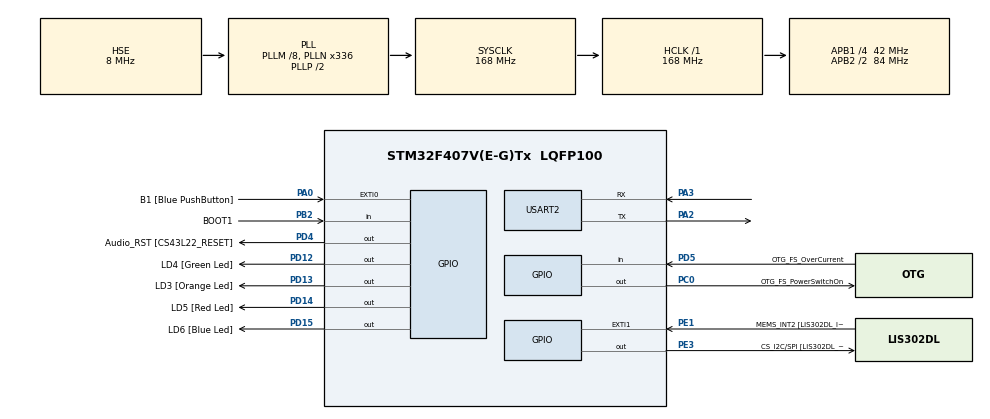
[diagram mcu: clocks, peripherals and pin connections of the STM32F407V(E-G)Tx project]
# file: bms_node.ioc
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Dma.Request0=USART2_RX
Dma.USART2_RX.0.Direction=DMA_PERIPH_TO_MEMORY
Dma.USART2_RX.0.FIFOMode=DMA_FIFOMODE_DISABLE
Dma.USART2_RX.0.Instance=DMA1_Stream5
Dma.USART2_RX.0.MemDataAlignment=DMA_MDATAALIGN_BYTE
Dma.USART2_RX.0.MemInc=DMA_MINC_ENABLE
Dma.USART2_RX.0.Mode=DMA_CIRCULAR
Dma.USART2_RX.0.PeriphDataAlignment=DMA_PDATAALIGN_BYTE
Dma.USART2_RX.0.PeriphInc=DMA_PINC_DISABLE
Dma.USART2_RX.0.Priority=DMA_PRIORITY_LOW
FREERTOS.Tasks01=defaultTask,24,128,StartDefaultTask,Default,NULL,Dynamic,NULL,NULL;ParserTask,32,1024,StartParserTask,Default,NULL,Dynamic,NULL,NULL
FREERTOS.configTOTAL_HEAP_SIZE=32768
FREERTOS.configUSE_NEWLIB_REENTRANT=1
Mcu.Family=STM32F4
Mcu.Name=STM32F407V(E-G)Tx
Mcu.Package=LQFP100
NVIC.DMA1_Stream5_IRQn=true\:5\:0\:true\:false\:true\:true\:false\:true\:true
NVIC.PriorityGroup=NVIC_PRIORITYGROUP_4
NVIC.TIM6_DAC_IRQn=true\:0\:0\:false\:false\:true\:false\:false\:true\:true
NVIC.TimeBase=TIM6_DAC_IRQn
NVIC.TimeBaseIP=TIM6
NVIC.USART2_IRQn=true\:5\:0\:true\:false\:true\:true\:true\:true\:true
PA0-WKUP.GPIO_Label=B1 [Blue PushButton]
PA0-WKUP.Signal=GPXTI0
PA10.GPIO_Label=OTG_FS_ID
PA10.GPIO_Mode=GPIO_MODE_AF_PP
PA10.GPIO_PuPd=GPIO_NOPULL
PA10.GPIO_Speed=GPIO_SPEED_FREQ_LOW
PA10.Signal=USB_OTG_FS_ID
PA11.GPIO_Label=OTG_FS_DM
PA11.GPIO_Mode=GPIO_MODE_AF_PP
PA11.GPIO_PuPd=GPIO_NOPULL
PA11.GPIO_Speed=GPIO_SPEED_FREQ_LOW
PA11.Signal=USB_OTG_FS_DM
PA12.GPIO_Label=OTG_FS_DP
PA12.GPIO_Mode=GPIO_MODE_AF_PP
PA12.GPIO_PuPd=GPIO_NOPULL
PA12.GPIO_Speed=GPIO_SPEED_FREQ_LOW
PA12.Signal=USB_OTG_FS_DP
PA13.GPIO_Label=SWDIO
PA13.Mode=Serial_Wire
PA13.Signal=SYS_JTMS-SWDIO
PA14.GPIO_Label=SWCLK
PA14.Mode=Serial_Wire
PA14.Signal=SYS_JTCK-SWCLK
PA2.Mode=Asynchronous
PA2.Signal=USART2_TX
PA3.Mode=Asynchronous
PA3.Signal=USART2_RX
PA4.GPIO_Label=I2S3_WS [CS43L22_LRCK]
PA4.GPIO_Mode=GPIO_MODE_AF_PP
PA4.GPIO_PuPd=GPIO_NOPULL
PA4.GPIO_Speed=GPIO_SPEED_FREQ_LOW
PA4.Signal=I2S3_WS
PA5.GPIO_Label=SPI1_SCK [LIS302DL_SCL/SPC]
PA5.GPIO_Mode=GPIO_MODE_AF_PP
PA5.GPIO_PuPd=GPIO_NOPULL
PA5.GPIO_Speed=GPIO_SPEED_FREQ_LOW
PA5.Signal=SPI1_SCK
PA6.GPIO_Label=SPI1_MISO [LIS302DL_SDO]
PA6.GPIO_Mode=GPIO_MODE_AF_PP
PA6.GPIO_PuPd=GPIO_NOPULL
PA6.GPIO_Speed=GPIO_SPEED_FREQ_LOW
PA6.Signal=SPI1_MISO
PA7.GPIO_Label=SPI1_MOSI [LIS302DL_SDA/SDI/SDO]
PA7.GPIO_Mode=GPIO_MODE_AF_PP
PA7.GPIO_PuPd=GPIO_NOPULL
PA7.GPIO_Speed=GPIO_SPEED_FREQ_LOW
PA7.Signal=SPI1_MOSI
PA9.GPIO_Label=VBUS_FS
PA9.GPIO_Mode=GPIO_MODE_INPUT
PA9.GPIO_PuPd=GPIO_NOPULL
PA9.Signal=USB_OTG_FS_VBUS
PB10.GPIO_Label=CLK_IN [MP45DT02_CLK]
PB10.GPIO_Mode=GPIO_MODE_AF_PP
PB10.GPIO_PuPd=GPIO_NOPULL
PB10.GPIO_Speed=GPIO_SPEED_FREQ_LOW
PB10.Signal=I2S2_CK
PB2.GPIO_Label=BOOT1
PB2.GPIO_Mode=GPIO_MODE_INPUT
PB2.GPIO_PuPd=GPIO_NOPULL
PB2.Signal=GPIO_Input
PB3.GPIO_Label=SWO
PB3.Signal=SYS_JTDO-SWO
PB6.GPIO_Label=Audio_SCL [CS43L22_SCL]
PB6.GPIO_Mode=GPIO_MODE_AF_OD
PB6.GPIO_PuPd=GPIO_NOPULL
PB6.GPIO_Speed=GPIO_SPEED_FREQ_LOW
PB6.Signal=I2C1_SCL
PB9.GPIO_Label=Audio_SDA [CS43L22_SDA]
PB9.GPIO_Mode=GPIO_MODE_AF_OD
PB9.GPIO_PuPd=GPIO_NOPULL
PB9.GPIO_Speed=GPIO_SPEED_FREQ_LOW
PB9.Signal=I2C1_SDA
PC0.GPIO_Label=OTG_FS_PowerSwitchOn
PC0.GPIO_PuPd=GPIO_NOPULL
PC0.GPIO_Speed=GPIO_SPEED_FREQ_LOW
PC0.PinState=GPIO_PIN_SET
PC0.Signal=GPIO_Output
PC10.GPIO_Label=I2S3_SCK [CS43L22_SCLK]
PC10.GPIO_Mode=GPIO_MODE_AF_PP
PC10.GPIO_PuPd=GPIO_NOPULL
PC10.GPIO_Speed=GPIO_SPEED_FREQ_LOW
PC10.Signal=I2S3_CK
PC12.GPIO_Label=I2S3_SD [CS43L22_SDIN]
PC12.GPIO_Mode=GPIO_MODE_AF_PP
PC12.GPIO_PuPd=GPIO_NOPULL
PC12.GPIO_Speed=GPIO_SPEED_FREQ_LOW
PC12.Signal=I2S3_SD
PC14-OSC32_IN.GPIO_Label=PC14-OSC32_IN
PC14-OSC32_IN.Signal=RCC_OSC32_IN
PC15-OSC32_OUT.GPIO_Label=PC15-OSC32_OUT
PC15-OSC32_OUT.Signal=RCC_OSC32_OUT
PC3.GPIO_Label=PDM_OUT [MP45DT02_DOUT]
PC3.GPIO_Mode=GPIO_MODE_AF_PP
PC3.GPIO_PuPd=GPIO_NOPULL
PC3.GPIO_Speed=GPIO_SPEED_FREQ_LOW
PC3.Signal=I2S2_SD
PC7.GPIO_Label=I2S3_MCK [CS43L22_MCLK]
PC7.GPIO_Mode=GPIO_MODE_AF_PP
PC7.GPIO_PuPd=GPIO_NOPULL
PC7.GPIO_Speed=GPIO_SPEED_FREQ_LOW
PC7.Signal=I2S3_MCK
PD12.GPIO_Label=LD4 [Green Led]
PD12.GPIO_PuPd=GPIO_NOPULL
PD12.GPIO_Speed=GPIO_SPEED_FREQ_LOW
PD12.Signal=GPIO_Output
PD13.GPIO_Label=LD3 [Orange Led]
PD13.GPIO_PuPd=GPIO_NOPULL
PD13.GPIO_Speed=GPIO_SPEED_FREQ_LOW
PD13.Signal=GPIO_Output
PD14.GPIO_Label=LD5 [Red Led]
PD14.GPIO_PuPd=GPIO_NOPULL
PD14.GPIO_Speed=GPIO_SPEED_FREQ_LOW
PD14.Signal=GPIO_Output
PD15.GPIO_Label=LD6 [Blue Led]
PD15.GPIO_PuPd=GPIO_NOPULL
PD15.GPIO_Speed=GPIO_SPEED_FREQ_LOW
PD15.Signal=GPIO_Output
PD4.GPIO_Label=Audio_RST [CS43L22_RESET]
PD4.GPIO_PuPd=GPIO_NOPULL
PD4.GPIO_Speed=GPIO_SPEED_FREQ_LOW
PD4.Signal=GPIO_Output
PD5.GPIO_Label=OTG_FS_OverCurrent
PD5.GPIO_Mode=GPIO_MODE_INPUT
PD5.GPIO_PuPd=GPIO_NOPULL
PD5.Signal=GPIO_Input
PE1.GPIO_Label=MEMS_INT2 [LIS302DL_INT2]
PE1.GPIO_ModeDefaultEXTI=GPIO_MODE_EVT_RISING
PE1.GPIO_PuPd=GPIO_NOPULL
PE1.Signal=GPXTI1
PE3.GPIO_Label=CS_I2C/SPI [LIS302DL_CS_I2C/SPI]
PE3.GPIO_PuPd=GPIO_NOPULL
PE3.GPIO_Speed=GPIO_SPEED_FREQ_LOW
PE3.Signal=GPIO_Output
PH0-OSC_IN.GPIO_Label=PH0-OSC_IN
PH0-OSC_IN.Mode=HSE-External-Oscillator
PH0-OSC_IN.Signal=RCC_OSC_IN
PH1-OSC_OUT.GPIO_Label=PH1-OSC_OUT
PH1-OSC_OUT.Mode=HSE-External-Oscillator
PH1-OSC_OUT.Signal=RCC_OSC_OUT
ProjectManager.HeapSize=0x200
ProjectManager.StackSize=0x400
ProjectManager.TargetToolchain=STM32CubeIDE
RCC.48MHZClocksFreq_Value=48000000
RCC.AHBFreq_Value=168000000
RCC.APB1CLKDivider=RCC_HCLK_DIV4
RCC.APB1Freq_Value=42000000
RCC.APB1TimFreq_Value=84000000
RCC.APB2CLKDivider=RCC_HCLK_DIV2
RCC.APB2Freq_Value=84000000
RCC.APB2TimFreq_Value=168000000
RCC.CortexFreq_Value=168000000
RCC.HCLKFreq_Value=168000000
RCC.HSE_VALUE=8000000
RCC.HSI_VALUE=16000000
RCC.LSE_VALUE=32768
RCC.PLLM=8
RCC.PLLN=336
RCC.PLLQ=7
RCC.PLLSourceVirtual=RCC_PLLSOURCE_HSE
RCC.SYSCLKFreq_VALUE=168000000
RCC.SYSCLKSource=RCC_SYSCLKSOURCE_PLLCLK
RCC.VCOOutputFreq_Value=336000000
USART2.VirtualMode=VM_ASYNC
VP_FREERTOS_VS_CMSIS_V2.Mode=CMSIS_V2
VP_SYS_VS_tim6.Mode=TIM6
board=STM32F407G-DISC1

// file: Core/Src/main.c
/* USER CODE BEGIN Header */
/**
  ******************************************************************************
  * @file           : main.c
  * @brief          : Main program body
  ******************************************************************************
  * @attention
  *
  * Copyright (c) 2026 STMicroelectronics.
  * All rights reserved.
  *
  * This software is licensed under terms that can be found in the LICENSE file
  * in the root directory of this software component.
  * If no LICENSE file comes with this software, it is provided AS-IS.
  *
  ******************************************************************************
  */
/* USER CODE END Header */
#include "main.h"
#include "cmsis_os.h"

/* USER CODE BEGIN Includes */
#include "app_uart_rx.h"
#include "app_log.h"
#include "app_wdg.h"
#include "app_faultlog.h"
/* USER CODE END Includes */

UART_HandleTypeDef huart2;
DMA_HandleTypeDef hdma_usart2_rx;

/* Definitions for defaultTask */
osThreadId_t defaultTaskHandle;
const osThreadAttr_t defaultTask_attributes = {
  .name = "defaultTask",
  .stack_size = 128 * 4,
  .priority = (osPriority_t) osPriorityNormal,
};
/* Definitions for ParserTask */
osThreadId_t ParserTaskHandle;
const osThreadAttr_t ParserTask_attributes = {
  .name = "ParserTask",
  .stack_size = 1024 * 4,
  .priority = (osPriority_t) osPriorityAboveNormal,
};

void SystemClock_Config(void);
static void MX_GPIO_Init(void);
static void MX_DMA_Init(void);
static void MX_USART2_UART_Init(void);
void StartDefaultTask(void *argument);
void StartParserTask(void *argument);

int main(void)
{

  /* MCU Configuration--------------------------------------------------------*/

  /* Reset of all peripherals, Initializes the Flash interface and the Systick. */
  HAL_Init();

  /* Configure the system clock */
  SystemClock_Config();

  /* Initialize all configured peripherals */
  MX_GPIO_Init();
  MX_DMA_Init();
  MX_USART2_UART_Init();
  /* USER CODE BEGIN 2 */
  HAL_NVIC_SetPriority(PendSV_IRQn, 15, 0);
  HAL_NVIC_SetPriority(SysTick_IRQn, 15, 0);
  /* USER CODE END 2 */

  /* Init scheduler */
  osKernelInitialize();

  /* USER CODE BEGIN RTOS_QUEUES */
  /* add queues, ... */
  App_LogInit();
  App_WdgInit();
  App_FaultLogInit();
  /* USER CODE END RTOS_QUEUES */

  /* Create the thread(s) */
  /* creation of defaultTask */
  defaultTaskHandle = osThreadNew(StartDefaultTask, NULL, &defaultTask_attributes);

  /* creation of ParserTask */
  ParserTaskHandle = osThreadNew(StartParserTask, NULL, &ParserTask_attributes);

  /* USER CODE BEGIN RTOS_THREADS */
  /* add threads, ... */
  static const osThreadAttr_t logTask_attributes = {
    .name = "LogTask",
    .stack_size = 512 * 4,
    .priority = (osPriority_t) osPriorityBelowNormal,
  };
  osThreadNew(App_LogTask, NULL, &logTask_attributes);

  static const osThreadAttr_t wdgTask_attributes = {
    .name = "WdgTask",
    .stack_size = 512 * 4,
    .priority = (osPriority_t) osPriorityHigh,
  };
  osThreadNew(App_WdgTask, NULL, &wdgTask_attributes);
  /* USER CODE END RTOS_THREADS */

  /* Start scheduler */
  osKernelStart();

  /* We should never get here as control is now taken by the scheduler */

  /* Infinite loop */
  while (1)
  {

  }
}

void SystemClock_Config(void)
{
  RCC_OscInitTypeDef RCC_OscInitStruct = {0};
  RCC_ClkInitTypeDef RCC_ClkInitStruct = {0};

  /** Configure the main internal regulator output voltage
  */
  __HAL_RCC_PWR_CLK_ENABLE();
  __HAL_PWR_VOLTAGESCALING_CONFIG(PWR_REGULATOR_VOLTAGE_SCALE1);

  /** Initializes the RCC Oscillators according to the specified parameters
  * in the RCC_OscInitTypeDef structure.
  */
  RCC_OscInitStruct.OscillatorType = RCC_OSCILLATORTYPE_HSE;
  RCC_OscInitStruct.HSEState = RCC_HSE_ON;
  RCC_OscInitStruct.PLL.PLLState = RCC_PLL_ON;
  RCC_OscInitStruct.PLL.PLLSource = RCC_PLLSOURCE_HSE;
  RCC_OscInitStruct.PLL.PLLM = 8;
  RCC_OscInitStruct.PLL.PLLN = 336;
  RCC_OscInitStruct.PLL.PLLP = RCC_PLLP_DIV2;
  RCC_OscInitStruct.PLL.PLLQ = 7;
  if (HAL_RCC_OscConfig(&RCC_OscInitStruct) != HAL_OK)
  {
    Error_Handler();
  }

  /** Initializes the CPU, AHB and APB buses clocks
  */
  RCC_ClkInitStruct.ClockType = RCC_CLOCKTYPE_HCLK|RCC_CLOCKTYPE_SYSCLK
                              |RCC_CLOCKTYPE_PCLK1|RCC_CLOCKTYPE_PCLK2;
  RCC_ClkInitStruct.SYSCLKSource = RCC_SYSCLKSOURCE_PLLCLK;
  RCC_ClkInitStruct.AHBCLKDivider = RCC_SYSCLK_DIV1;
  RCC_ClkInitStruct.APB1CLKDivider = RCC_HCLK_DIV4;
  RCC_ClkInitStruct.APB2CLKDivider = RCC_HCLK_DIV2;

  if (HAL_RCC_ClockConfig(&RCC_ClkInitStruct, FLASH_LATENCY_5) != HAL_OK)
  {
    Error_Handler();
  }
}

static void MX_USART2_UART_Init(void)
{

  huart2.Instance = USART2;
  huart2.Init.BaudRate = 115200;
  huart2.Init.WordLength = UART_WORDLENGTH_8B;
  huart2.Init.StopBits = UART_STOPBITS_1;
  huart2.Init.Parity = UART_PARITY_NONE;
  huart2.Init.Mode = UART_MODE_TX_RX;
  huart2.Init.HwFlowCtl = UART_HWCONTROL_NONE;
  huart2.Init.OverSampling = UART_OVERSAMPLING_16;
  if (HAL_UART_Init(&huart2) != HAL_OK)
  {
    Error_Handler();
  }

}

static void MX_DMA_Init(void)
{

  /* DMA controller clock enable */
  __HAL_RCC_DMA1_CLK_ENABLE();

  /* DMA interrupt init */
  /* DMA1_Stream5_IRQn interrupt configuration */
  HAL_NVIC_SetPriority(DMA1_Stream5_IRQn, 5, 0);
  HAL_NVIC_EnableIRQ(DMA1_Stream5_IRQn);

}

static void MX_GPIO_Init(void)
{
  GPIO_InitTypeDef GPIO_InitStruct = {0};

  /* GPIO Ports Clock Enable */
  __HAL_RCC_GPIOE_CLK_ENABLE();
  __HAL_RCC_GPIOC_CLK_ENABLE();
  __HAL_RCC_GPIOH_CLK_ENABLE();
  __HAL_RCC_GPIOA_CLK_ENABLE();
  __HAL_RCC_GPIOB_CLK_ENABLE();
  __HAL_RCC_GPIOD_CLK_ENABLE();

  /*Configure GPIO pin Output Level */
  HAL_GPIO_WritePin(CS_I2C_SPI_GPIO_Port, CS_I2C_SPI_Pin, GPIO_PIN_RESET);

  /*Configure GPIO pin Output Level */
  HAL_GPIO_WritePin(OTG_FS_PowerSwitchOn_GPIO_Port, OTG_FS_PowerSwitchOn_Pin, GPIO_PIN_SET);

  /*Configure GPIO pin Output Level */
  HAL_GPIO_WritePin(GPIOD, LD4_Pin|LD3_Pin|LD5_Pin|LD6_Pin
                          |Audio_RST_Pin, GPIO_PIN_RESET);

  /*Configure GPIO pin : CS_I2C_SPI_Pin */
  GPIO_InitStruct.Pin = CS_I2C_SPI_Pin;
  GPIO_InitStruct.Mode = GPIO_MODE_OUTPUT_PP;
  GPIO_InitStruct.Pull = GPIO_NOPULL;
  GPIO_InitStruct.Speed = GPIO_SPEED_FREQ_LOW;
  HAL_GPIO_Init(CS_I2C_SPI_GPIO_Port, &GPIO_InitStruct);

  /*Configure GPIO pin : OTG_FS_PowerSwitchOn_Pin */
  GPIO_InitStruct.Pin = OTG_FS_PowerSwitchOn_Pin;
  GPIO_InitStruct.Mode = GPIO_MODE_OUTPUT_PP;
  GPIO_InitStruct.Pull = GPIO_NOPULL;
  GPIO_InitStruct.Speed = GPIO_SPEED_FREQ_LOW;
  HAL_GPIO_Init(OTG_FS_PowerSwitchOn_GPIO_Port, &GPIO_InitStruct);

  /*Configure GPIO pin : PDM_OUT_Pin */
  GPIO_InitStruct.Pin = PDM_OUT_Pin;
  GPIO_InitStruct.Mode = GPIO_MODE_AF_PP;
  GPIO_InitStruct.Pull = GPIO_NOPULL;
  GPIO_InitStruct.Speed = GPIO_SPEED_FREQ_LOW;
  GPIO_InitStruct.Alternate = GPIO_AF5_SPI2;
  HAL_GPIO_Init(PDM_OUT_GPIO_Port, &GPIO_InitStruct);

  /*Configure GPIO pin : B1_Pin */
  GPIO_InitStruct.Pin = B1_Pin;
  GPIO_InitStruct.Mode = GPIO_MODE_IT_RISING;
  GPIO_InitStruct.Pull = GPIO_NOPULL;
  HAL_GPIO_Init(B1_GPIO_Port, &GPIO_InitStruct);

  /*Configure GPIO pin : I2S3_WS_Pin */
  GPIO_InitStruct.Pin = I2S3_WS_Pin;
  GPIO_InitStruct.Mode = GPIO_MODE_AF_PP;
  GPIO_InitStruct.Pull = GPIO_NOPULL;
  GPIO_InitStruct.Speed = GPIO_SPEED_FREQ_LOW;
  GPIO_InitStruct.Alternate = GPIO_AF6_SPI3;
  HAL_GPIO_Init(I2S3_WS_GPIO_Port, &GPIO_InitStruct);

  /*Configure GPIO pins : SPI1_SCK_Pin SPI1_MISO_Pin SPI1_MOSI_Pin */
  GPIO_InitStruct.Pin = SPI1_SCK_Pin|SPI1_MISO_Pin|SPI1_MOSI_Pin;
  GPIO_InitStruct.Mode = GPIO_MODE_AF_PP;
  GPIO_InitStruct.Pull = GPIO_NOPULL;
  GPIO_InitStruct.Speed = GPIO_SPEED_FREQ_LOW;
  GPIO_InitStruct.Alternate = GPIO_AF5_SPI1;
  HAL_GPIO_Init(GPIOA, &GPIO_InitStruct);

  /*Configure GPIO pin : BOOT1_Pin */
  GPIO_InitStruct.Pin = BOOT1_Pin;
  GPIO_InitStruct.Mode = GPIO_MODE_INPUT;
  GPIO_InitStruct.Pull = GPIO_NOPULL;
  HAL_GPIO_Init(BOOT1_GPIO_Port, &GPIO_InitStruct);

  /*Configure GPIO pin : CLK_IN_Pin */
  GPIO_InitStruct.Pin = CLK_IN_Pin;
  GPIO_InitStruct.Mode = GPIO_MODE_AF_PP;
  GPIO_InitStruct.Pull = GPIO_NOPULL;
  GPIO_InitStruct.Speed = GPIO_SPEED_FREQ_LOW;
  GPIO_InitStruct.Alternate = GPIO_AF5_SPI2;
  HAL_GPIO_Init(CLK_IN_GPIO_Port, &GPIO_InitStruct);

  /*Configure GPIO pins : LD4_Pin LD3_Pin LD5_Pin LD6_Pin
                           Audio_RST_Pin */
  GPIO_InitStruct.Pin = LD4_Pin|LD3_Pin|LD5_Pin|LD6_Pin
                          |Audio_RST_Pin;
  GPIO_InitStruct.Mode = GPIO_MODE_OUTPUT_PP;
  GPIO_InitStruct.Pull = GPIO_NOPULL;
  GPIO_InitStruct.Speed = GPIO_SPEED_FREQ_LOW;
  HAL_GPIO_Init(GPIOD, &GPIO_InitStruct);

  /*Configure GPIO pins : I2S3_MCK_Pin I2S3_SCK_Pin I2S3_SD_Pin */
  GPIO_InitStruct.Pin = I2S3_MCK_Pin|I2S3_SCK_Pin|I2S3_SD_Pin;
  GPIO_InitStruct.Mode = GPIO_MODE_AF_PP;
  GPIO_InitStruct.Pull = GPIO_NOPULL;
  GPIO_InitStruct.Speed = GPIO_SPEED_FREQ_LOW;
  GPIO_InitStruct.Alternate = GPIO_AF6_SPI3;
  HAL_GPIO_Init(GPIOC, &GPIO_InitStruct);

  /*Configure GPIO pin : VBUS_FS_Pin */
  GPIO_InitStruct.Pin = VBUS_FS_Pin;
  GPIO_InitStruct.Mode = GPIO_MODE_INPUT;
  GPIO_InitStruct.Pull = GPIO_NOPULL;
  HAL_GPIO_Init(VBUS_FS_GPIO_Port, &GPIO_InitStruct);

  /*Configure GPIO pins : OTG_FS_ID_Pin OTG_FS_DM_Pin OTG_FS_DP_Pin */
  GPIO_InitStruct.Pin = OTG_FS_ID_Pin|OTG_FS_DM_Pin|OTG_FS_DP_Pin;
  GPIO_InitStruct.Mode = GPIO_MODE_AF_PP;
  GPIO_InitStruct.Pull = GPIO_NOPULL;
  GPIO_InitStruct.Speed = GPIO_SPEED_FREQ_LOW;
  GPIO_InitStruct.Alternate = GPIO_AF10_OTG_FS;
  HAL_GPIO_Init(GPIOA, &GPIO_InitStruct);

  /*Configure GPIO pin : OTG_FS_OverCurrent_Pin */
  GPIO_InitStruct.Pin = OTG_FS_OverCurrent_Pin;
  GPIO_InitStruct.Mode = GPIO_MODE_INPUT;
  GPIO_InitStruct.Pull = GPIO_NOPULL;
  HAL_GPIO_Init(OTG_FS_OverCurrent_GPIO_Port, &GPIO_InitStruct);

  /*Configure GPIO pins : Audio_SCL_Pin Audio_SDA_Pin */
  GPIO_InitStruct.Pin = Audio_SCL_Pin|Audio_SDA_Pin;
  GPIO_InitStruct.Mode = GPIO_MODE_AF_OD;
  GPIO_InitStruct.Pull = GPIO_NOPULL;
  GPIO_InitStruct.Speed = GPIO_SPEED_FREQ_LOW;
  GPIO_InitStruct.Alternate = GPIO_AF4_I2C1;
  HAL_GPIO_Init(GPIOB, &GPIO_InitStruct);

  /*Configure GPIO pin : MEMS_INT2_Pin */
  GPIO_InitStruct.Pin = MEMS_INT2_Pin;
  GPIO_InitStruct.Mode = GPIO_MODE_EVT_RISING;
  GPIO_InitStruct.Pull = GPIO_NOPULL;
  HAL_GPIO_Init(MEMS_INT2_GPIO_Port, &GPIO_InitStruct);

}

void StartDefaultTask(void *argument)
{
  /* USER CODE BEGIN 5 */
  /* Infinite loop */
  for(;;)
  {
	 wd_checkin(WD_HEARTBEAT);
	 osDelay(100);
  }
  /* USER CODE END 5 */
}

void StartParserTask(void *argument)
{
  /* USER CODE BEGIN StartParserTask */
  /* Infinite loop */
	  App_ParserTaskRun();
  /* USER CODE END StartParserTask */
}

void HAL_TIM_PeriodElapsedCallback(TIM_HandleTypeDef *htim)
{
  if (htim->Instance == TIM6)
  {
    HAL_IncTick();
  }
}

void Error_Handler(void)
{
  __disable_irq();
  while (1)
  {
  }
}
